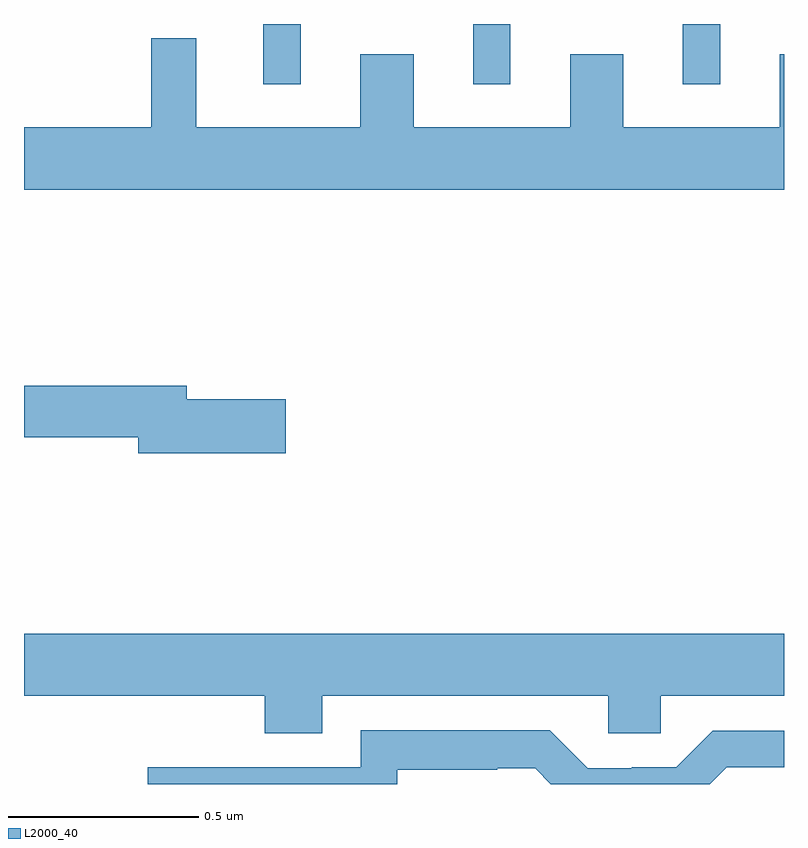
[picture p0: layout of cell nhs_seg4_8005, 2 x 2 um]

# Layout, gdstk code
import gdstk
lib = gdstk.Library(unit=1e-6, precision=1e-09)
def R(c, l, rs):  # rectangles x0, y0, x1, y1
    for r in rs: c.add(gdstk.rectangle(r[:2], r[2:], *l))
def A(c, l, x, y, w, h, nx, ny, dx, dy):  # array of equal rectangles
    R(c, l, [(x+i*dx, y+j*dy, x+i*dx+w, y+j*dy+h) for i in range(nx) for j in range(ny)])
def P(c, l, *ps):  # polygons
    for p in ps: c.add(gdstk.Polygon(p, *l))
L2000_40 = (2000, 40)

nhs_seg4_8005 = lib.new_cell('nhs_seg4_8005')
A(nhs_seg4_8005, L2000_40, 209.63, 819.741, 0.098, 0.159, 3, 1, 0.552, 0)
P(nhs_seg4_8005, L2000_40, [(211,819.821),(210.989,819.821),(210.989,819.628),(210.577,819.628),(210.577,819.821),(210.437,819.821),(210.437,819.628),(210.025,819.628),(210.025,819.821),(209.885,819.821),(209.885,819.628),(209.453,819.628),(209.453,819.862),(209.335,819.862),(209.335,819.628),(209,819.628),(209,819.464),(211,819.464)],
  [(209.689,818.912),(209.428,818.912),(209.428,818.948),(209,818.948),(209,818.812),(209.3,818.812),(209.3,818.77),(209.689,818.77)],
  [(209.785,818.132),(210.537,818.132),(210.537,818.034),(210.675,818.034),(210.675,818.132),(211,818.132),(211,818.296),(209,818.296),(209,818.132),(209.633,818.132),(209.633,818.033),(209.785,818.033)],
  [(209.982,817.937),(210.245,817.937),(210.245,817.941),(210.345,817.941),(210.386,817.9),(210.805,817.9),(210.849,817.944),(211,817.944),(211,818.04),(210.813,818.04),(210.717,817.944),(210.599,817.944),(210.599,817.941),(210.483,817.941),(210.383,818.041),(209.886,818.041),(209.886,817.944),(209.325,817.944),(209.325,817.9),(209.982,817.9)])

lib.write_gds('nhs_seg4_8005.gds')
